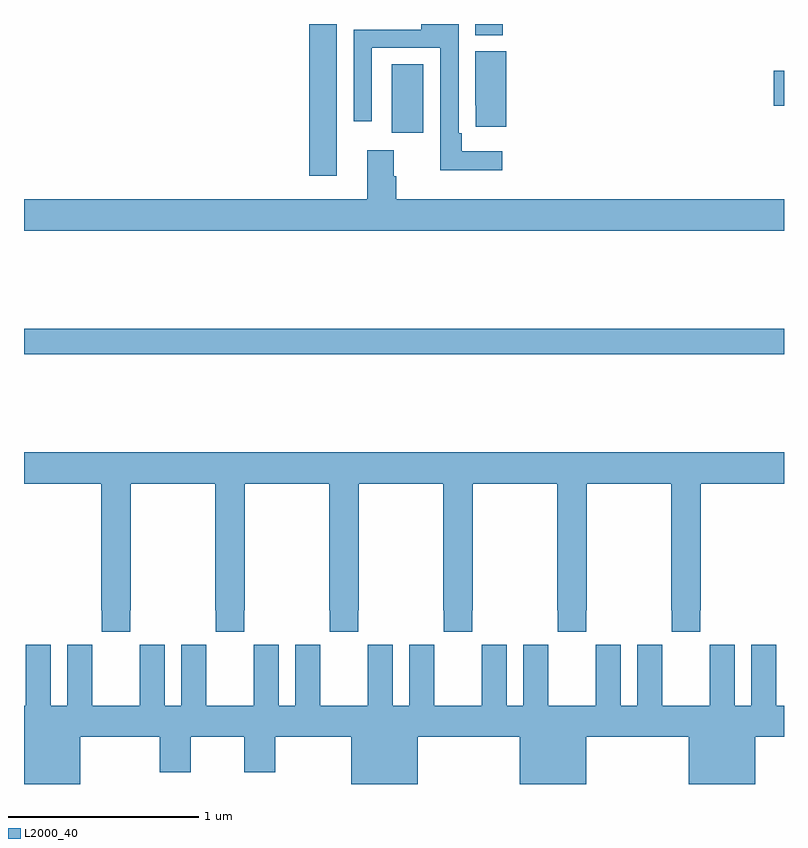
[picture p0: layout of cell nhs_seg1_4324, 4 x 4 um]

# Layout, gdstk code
import gdstk
lib = gdstk.Library(unit=1e-6, precision=1e-09)
def R(c, l, rs):  # rectangles x0, y0, x1, y1
    for r in rs: c.add(gdstk.rectangle(r[:2], r[2:], *l))
def P(c, l, *ps):  # polygons
    for p in ps: c.add(gdstk.Polygon(p, *l))
L2000_40 = (2000, 40)

nhs_seg1_4324 = lib.new_cell('nhs_seg1_4324')
R(nhs_seg1_4324, L2000_40, [(347,504.46,351,504.596), (348.5,505.401,348.646,506.199), (348.935,505.626,349.102,505.988), (350.946,505.769,351,505.952), (349.376,506.14,349.52,506.199)])
P(nhs_seg1_4324, L2000_40, [(349.516,505.528),(349.303,505.528),(349.303,505.624),(349.287,505.624),(349.287,506.199),(349.091,506.199),(349.091,506.169),(348.735,506.169),(348.735,505.686),(348.831,505.686),(348.831,506.073),(349.191,506.073),(349.191,505.43),(349.516,505.43)],
  [(349.538,506.055),(349.376,506.055),(349.376,505.771),(349.377,505.771),(349.377,505.659),(349.538,505.659)],
  [(351,505.276),(348.959,505.276),(348.959,505.397),(348.946,505.397),(348.946,505.534),(348.806,505.534),(348.806,505.276),(347,505.276),(347,505.112),(351,505.112)],
  [(347,503.78),(347.407,503.78),(347.407,503.113),(347.409,503.113),(347.409,503.001),(347.559,503.001),(347.559,503.113),(347.562,503.113),(347.562,503.78),(348.007,503.78),(348.007,503.113),(348.009,503.113),(348.009,503.001),(348.159,503.001),(348.159,503.113),(348.162,503.113),(348.162,503.78),(348.607,503.78),(348.607,503.113),(348.609,503.113),(348.609,503.001),(348.759,503.001),(348.759,503.113),(348.762,503.113),(348.762,503.78),(349.207,503.78),(349.207,503.113),(349.209,503.113),(349.209,503.001),(349.359,503.001),(349.359,503.113),(349.362,503.113),(349.362,503.78),(349.807,503.78),(349.807,503.113),(349.809,503.113),(349.809,503.001),(349.959,503.001),(349.959,503.113),(349.962,503.113),(349.962,503.78),(350.407,503.78),(350.407,503.113),(350.409,503.113),(350.409,503.001),(350.559,503.001),(350.559,503.113),(350.562,503.113),(350.562,503.78),(351,503.78),(351,503.944),(347,503.944)],
  [(348.722,502.199),(349.072,502.199),(349.072,502.448),(349.61,502.448),(349.61,502.199),(349.96,502.199),(349.96,502.448),(350.498,502.448),(350.498,502.199),(350.848,502.199),(350.848,502.448),(351,502.448),(351,502.612),(350.959,502.612),(350.959,502.82),(350.958,502.82),(350.958,502.933),(350.828,502.933),(350.828,502.612),(350.74,502.612),(350.74,502.933),(350.61,502.933),(350.61,502.82),(350.609,502.82),(350.609,502.612),(350.359,502.612),(350.359,502.82),(350.358,502.82),(350.358,502.933),(350.228,502.933),(350.228,502.612),(350.14,502.612),(350.14,502.933),(350.01,502.933),(350.01,502.82),(350.009,502.82),(350.009,502.612),(349.759,502.612),(349.759,502.82),(349.758,502.82),(349.758,502.933),(349.628,502.933),(349.628,502.612),(349.54,502.612),(349.54,502.933),(349.41,502.933),(349.41,502.82),(349.409,502.82),(349.409,502.612),(349.159,502.612),(349.159,502.82),(349.158,502.82),(349.158,502.933),(349.028,502.933),(349.028,502.612),(348.94,502.612),(348.94,502.933),(348.81,502.933),(348.81,502.82),(348.809,502.82),(348.809,502.612),(348.559,502.612),(348.559,502.82),(348.558,502.82),(348.558,502.933),(348.428,502.933),(348.428,502.612),(348.34,502.612),(348.34,502.933),(348.21,502.933),(348.21,502.82),(348.209,502.82),(348.209,502.612),(347.959,502.612),(347.959,502.82),(347.958,502.82),(347.958,502.933),(347.828,502.933),(347.828,502.612),(347.74,502.612),(347.74,502.933),(347.61,502.933),(347.61,502.82),(347.609,502.82),(347.609,502.612),(347.359,502.612),(347.359,502.82),(347.358,502.82),(347.358,502.933),(347.228,502.933),(347.228,502.612),(347.14,502.612),(347.14,502.933),(347.01,502.933),(347.01,502.82),(347.009,502.82),(347.009,502.612),(347,502.612),(347,502.199),(347.296,502.199),(347.296,502.448),(347.714,502.448),(347.714,502.26),(347.878,502.26),(347.878,502.448),(348.158,502.448),(348.158,502.26),(348.322,502.26),(348.322,502.448),(348.722,502.448)])

lib.write_gds('nhs_seg1_4324.gds')
